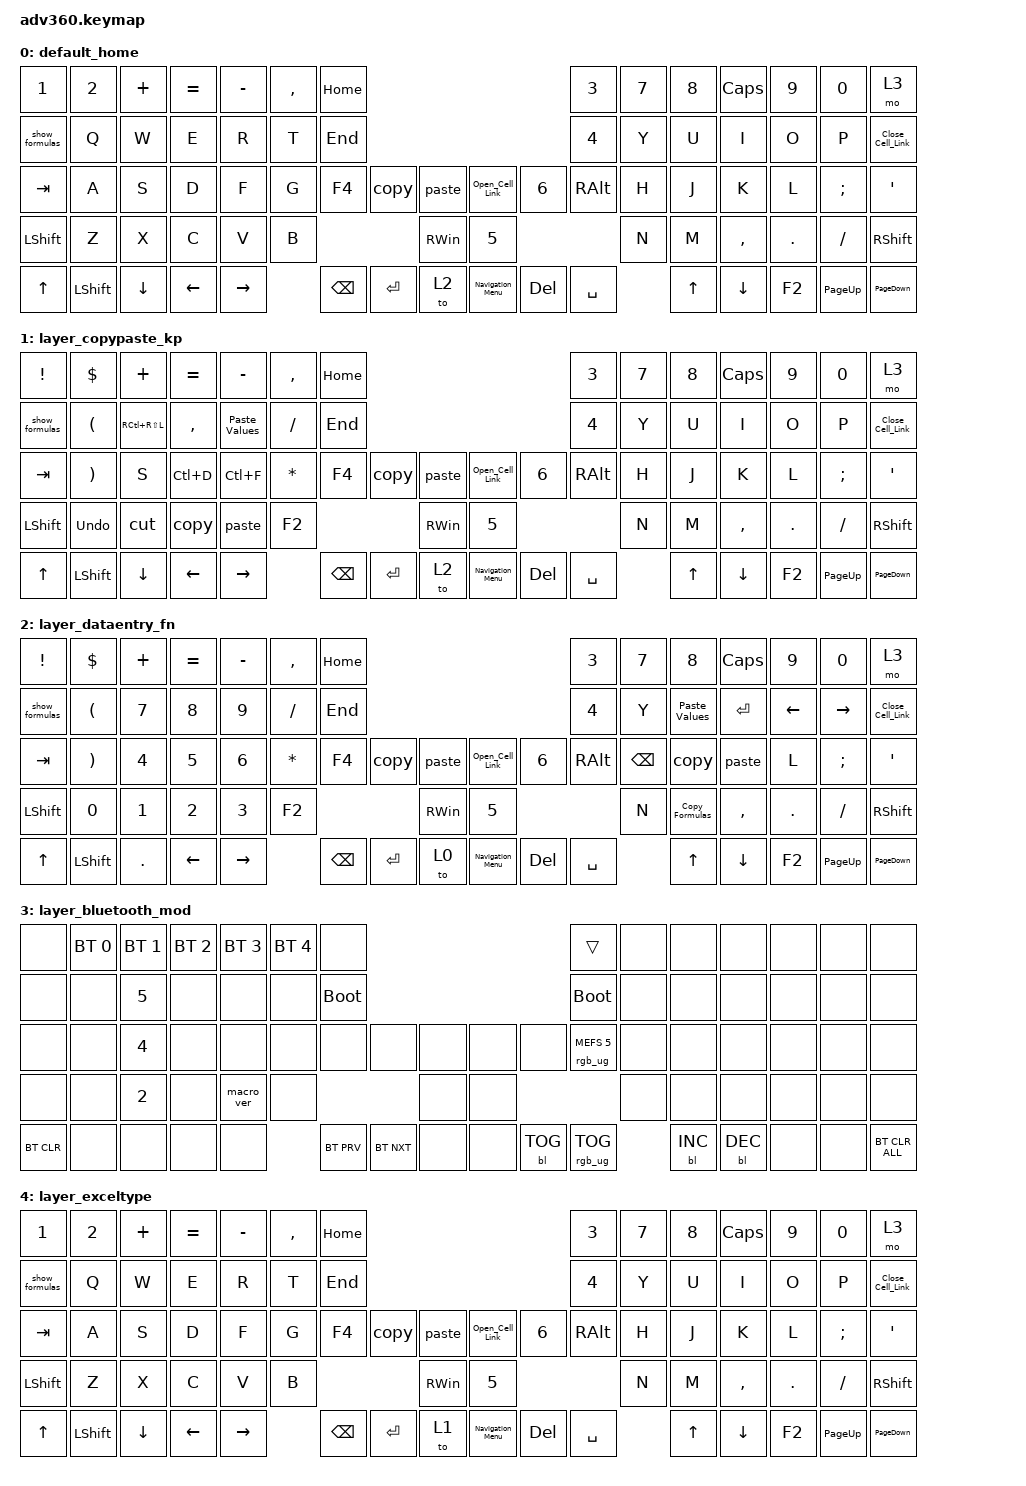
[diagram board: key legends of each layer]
/*
 * Copyright (c) 2020 The ZMK Contributors
 *
 * SPDX-License-Identifier: MIT
 */
/* THIS FILE WAS GENERATED!
 *
 * This file was generated automatically. You may or may not want to
 * edit it directly.
 */

#include <dt-bindings/zmk/mouse.h>
#include <behaviors.dtsi>
#include <dt-bindings/zmk/backlight.h>
#include <dt-bindings/zmk/bt.h>
#include <dt-bindings/zmk/keys.h>
#include <dt-bindings/zmk/pointing.h>
#include <dt-bindings/zmk/rgb.h>

/ {
    behaviors {
        #include "macros.dtsi"
    #include "version.dtsi"

        hm: homerow_mods {
            compatible = "zmk,behavior-hold-tap";
            label = "HOMEROW_MODS";
            #binding-cells = <2>;
            tapping-term-ms = <200>;
            quick_tap_ms = <175>;
            flavor = "tap-preferred";
            bindings = <&kp>, <&kp>;
        };
    };

    combos { compatible = "zmk,combos"; };

    macros {
        Open_Cell_Link: Open_Cell_Link {
            compatible = "zmk,behavior-macro";
            #binding-cells = <0>;
            bindings =
                <&none>,
                <&macro_press>,
                <&kp RCTRL>,
                <&macro_tap>,
                <&kp LEFT_BRACKET>,
                <&macro_release>,
                <&kp RIGHT_CONTROL>;

            label = "OPEN_CELL_LINK";
        };

        Horizontal_Scroll: Horizontal_Scroll {
            compatible = "zmk,behavior-macro";
            #binding-cells = <0>;
            bindings =
                <&none>,
                <&macro_press>,
                <&kp LEFT_CONTROL &kp LEFT_SHIFT>,
                <&macro_pause_for_release>,
                <&macro_release>,
                <&kp LEFT_CONTROL &kp LEFT_SHIFT>;

            label = "HORIZONTAL_SCROLL";
        };

        Close_Cell_Link: new_macro {
            compatible = "zmk,behavior-macro";
            #binding-cells = <0>;
            bindings =
                <&none>,
                <&macro_press>,
                <&kp F5>,
                <&macro_tap>,
                <&kp ENTER>,
                <&macro_release>,
                <&kp F5>;

            label = "NEW_MACRO";
        };

        copy: copy {
            compatible = "zmk,behavior-macro";
            #binding-cells = <0>;
            bindings =
                <&none>,
                <&macro_press>,
                <&kp LCTRL>,
                <&macro_tap>,
                <&kp C>,
                <&macro_release>,
                <&kp LEFT_CONTROL>;

            label = "COPY";
        };

        paste: paste {
            compatible = "zmk,behavior-macro";
            #binding-cells = <0>;
            bindings =
                <&none>,
                <&macro_press>,
                <&kp LEFT_CONTROL>,
                <&macro_tap>,
                <&kp V>,
                <&macro_release>,
                <&kp LEFT_CONTROL>;

            label = "PASTE";
        };

        cut: cut {
            compatible = "zmk,behavior-macro";
            #binding-cells = <0>;
            bindings =
                <&none>,
                <&macro_press>,
                <&kp LEFT_CONTROL>,
                <&macro_tap>,
                <&kp X>,
                <&macro_release>,
                <&kp LEFT_CONTROL>;

            label = "CUT";
        };

        PageUp: PageUp {
            compatible = "zmk,behavior-macro";
            #binding-cells = <0>;
            bindings =
                <&none>,
                <&macro_press>,
                <&kp RIGHT_CONTROL>,
                <&macro_tap>,
                <&kp PAGE_UP>,
                <&macro_release>,
                <&kp RIGHT_CONTROL>;

            label = "PAGEUP";
        };

        PageDown: PageDown {
            compatible = "zmk,behavior-macro";
            #binding-cells = <0>;
            bindings =
                <&none>,
                <&macro_press>,
                <&kp RIGHT_CONTROL>,
                <&macro_tap>,
                <&kp PAGE_DOWN>,
                <&macro_release>,
                <&kp RIGHT_CONTROL>;

            label = "PAGEDOWN";
        };

        Undo: Undo {
            compatible = "zmk,behavior-macro";
            #binding-cells = <0>;
            bindings =
                <&none>,
                <&macro_press>,
                <&kp LEFT_CONTROL>,
                <&macro_tap>,
                <&kp Z>,
                <&macro_release>,
                <&kp LEFT_CONTROL>;

            label = "UNDO";
        };

        Find: Find {
            compatible = "zmk,behavior-macro";
            #binding-cells = <0>;
            bindings =
                <&none>,
                <&macro_press>,
                <&kp LEFT_CONTROL>,
                <&macro_tap>,
                <&kp F>,
                <&macro_release>,
                <&kp LEFT_CONTROL>;

            label = "FIND";
        };

        DropDown: DropDown {
            compatible = "zmk,behavior-macro";
            #binding-cells = <0>;
            bindings =
                <&none>,
                <&macro_press>,
                <&kp LEFT_CONTROL>,
                <&macro_tap>,
                <&kp D>,
                <&macro_release>,
                <&kp LEFT_CONTROL>;

            label = "DROPDOWN";
        };

        Paste_Values: Paste_Values {
            compatible = "zmk,behavior-macro";
            #binding-cells = <0>;
            bindings =
                <&none>,
                <&macro_press>,
                <&kp LEFT_CONTROL>,
                <&macro_press>,
                <&kp LEFT_ALT>,
                <&macro_tap>,
                <&kp V>,
                <&macro_release>,
                <&kp LEFT_ALT>,
                <&macro_release>,
                <&kp LEFT_CONTROL>,
                <&macro_tap>,
                <&kp V>,
                <&macro_tap>,
                <&kp ENTER>;

            label = "PASTE_VALUES";
        };

        Navigation_Menu: Navigation_Menu {
            compatible = "zmk,behavior-macro";
            #binding-cells = <0>;
            bindings =
                <&none>,
                <&macro_press>,
                <&kp LEFT_ALT>,
                <&macro_tap>,
                <&kp TAB>,
                <&macro_pause_for_release>,
                <&kp LEFT_ALT>,
                <&macro_release>,
                <&kp LEFT_ALT>;

            label = "NAVIGATION_MENU";
        };

        New_Typing_Line: New_Typing_Line {
            compatible = "zmk,behavior-macro";
            #binding-cells = <0>;
            bindings =
                <&none>,
                <&macro_press>,
                <&kp RIGHT_ALT>,
                <&macro_tap>,
                <&kp ENTER>,
                <&macro_release>,
                <&kp RIGHT_ALT>;

            label = "NEW_TYPING_LINE";
        };

        Left_Arrow_Macro: Left_Arrow_Macro {
            compatible = "zmk,behavior-macro";
            #binding-cells = <0>;
            bindings =
                <&none>,
                <&macro_press>,
                <&kp LEFT_ARROW>,
                <&macro_release>,
                <&kp LEFT_ARROW>;

            label = "LEFT_ARROW_MACRO";
        };

        Macro_36: Macro_36 {
            compatible = "zmk,behavior-macro";
            #binding-cells = <0>;
            bindings =
                <&none>,
                <&macro_tap>,
                <&kp NUMBER_3 &kp NUMBER_6>,
                <&macro_release>;

            label = "MACRO_36";
        };

        show_formulas: show_formulas {
            compatible = "zmk,behavior-macro";
            #binding-cells = <0>;
            bindings =
                <&none>,
                <&macro_press>,
                <&kp LEFT_CONTROL>,
                <&macro_tap>,
                <&kp GRAVE>,
                <&macro_release>,
                <&kp LEFT_CONTROL>;

            label = "SHOW_FORMULAS";
        };

        minimize_window: minimize_window {
            compatible = "zmk,behavior-macro";
            #binding-cells = <0>;
            bindings =
                <&none>,
                <&macro_press>,
                <&kp RIGHT_WIN>,
                <&macro_tap>,
                <&kp DOWN_ARROW>,
                <&macro_release>,
                <&kp RIGHT_WIN>;

            label = "MINIMIZE_WINDOW";
        };

        Excel_CtrlShft_Left: triple_left_click {
            compatible = "zmk,behavior-macro";
            #binding-cells = <0>;
            bindings =
                <&macro_tap>,
                <&kp F2>,
                <&macro_press>,
                <&kp LEFT_CONTROL>,
                <&macro_press>,
                <&kp LEFT_SHIFT>,
                <&macro_tap>,
                <&kp LEFT_ARROW &kp LEFT_ARROW &kp LEFT_ARROW &kp LEFT_ARROW &kp LEFT_ARROW &kp LEFT_ARROW &kp LEFT_ARROW &kp LEFT_ARROW &kp LEFT_ARROW &kp LEFT_ARROW &kp LEFT_ARROW &kp LEFT_ARROW &kp LEFT_ARROW &kp LEFT_ARROW &kp LEFT_ARROW &kp LEFT_ARROW &kp LEFT_ARROW &kp LEFT_ARROW &kp LEFT_ARROW &kp LEFT_ARROW &kp LEFT_ARROW &kp LEFT_ARROW &kp LEFT_ARROW &kp LEFT_ARROW &kp LEFT_ARROW &kp LEFT_ARROW &kp LEFT_ARROW &kp LEFT_ARROW &kp LEFT_ARROW &kp LEFT_ARROW>,
                <&macro_release>,
                <&kp LEFT_SHIFT>,
                <&macro_tap>,
                <&kp C>,
                <&macro_release>,
                <&kp LEFT_CONTROL>,
                <&macro_tap>,
                <&kp ENTER>;

            label = "TRIPLE_LEFT_CLICK";
        };

        Copy_Formulas: Copy_Formulas {
            compatible = "zmk,behavior-macro";
            #binding-cells = <0>;
            bindings =
                <&none>,
                <&macro_tap>,
                <&mkp LCLK &mkp LCLK &mkp LCLK &mkp LCLK &mkp LCLK>,
                <&macro_press>,
                <&kp LEFT_CONTROL>,
                <&macro_tap>,
                <&kp C>,
                <&macro_release>,
                <&kp LEFT_CONTROL>,
                <&macro_tap>,
                <&kp ENTER>;

            label = "COPY_FORMULAS";
        };

        sum_macro: sum_macro {
            compatible = "zmk,behavior-macro";
            #binding-cells = <0>;
            bindings = <&none &kp EQUAL &kp LS(S) &kp LS(U) &kp LS(M) &kp LPAR>;
            label = "SUM_MACRO";
        };
    };

    keymap {
        compatible = "zmk,keymap";

        default_home {
            bindings = <
&kp NUMBER_1    &kp NUMBER_2    &kp PLUS        &kp EQUAL       &kp MINUS        &kp COMMA  &kp HOME                                                                     &kp NUMBER_3   &kp N7  &kp N8        &kp CAPSLOCK    &kp N9   &kp N0    &mo 3
&show_formulas  &kp Q           &kp W           &kp E           &kp R            &kp T      &kp END                                                                      &kp NUMBER_4   &kp Y   &kp U         &kp I           &kp O    &kp P     &Close_Cell_Link
&kp TAB         &kp A           &kp S           &kp D           &kp F            &kp G      &kp F4         &copy      &paste             &Open_Cell_Link   &kp NUMBER_6  &kp RIGHT_ALT  &kp H   &kp J         &kp K           &kp L    &kp SEMI  &kp SQT
&kp LSHFT       &kp Z           &kp X           &kp C           &kp V            &kp B                                &kp RIGHT_WIN      &kp NUMBER_5                                   &kp N   &kp M         &kp COMMA       &kp DOT  &kp FSLH  &kp RSHFT
&kp UP_ARROW    &kp LEFT_SHIFT  &kp DOWN_ARROW  &kp LEFT_ARROW  &kp RIGHT_ARROW             &kp BACKSPACE  &kp ENTER  &to 2              &Navigation_Menu  &kp DEL       &kp SPACE              &kp UP_ARROW  &kp DOWN_ARROW  &kp F2   &PageUp   &PageDown
            >;
        };

        layer_copypaste_kp {
            bindings = <
&kp EXCLAMATION  &kp DOLLAR             &kp PLUS        &kp EQUAL       &kp MINUS        &kp COMMA  &kp HOME                                                                     &kp NUMBER_3   &kp N7  &kp N8  &kp CLCK   &kp N9      &kp N0     &mo 3
&show_formulas   &kp LEFT_PARENTHESIS   &kp RC(RS(L))   &kp COMMA       &Paste_Values    &kp SLASH  &kp END                                                                      &kp NUMBER_4   &kp Y   &kp U   &kp I      &kp O       &kp P      &Close_Cell_Link
&kp TAB          &kp RIGHT_PARENTHESIS  &kp S           &kp LC(D)       &kp LC(F)        &kp STAR   &kp F4         &copy      &paste             &Open_Cell_Link   &kp NUMBER_6  &kp RIGHT_ALT  &kp H   &kp J   &kp K      &kp L       &kp SEMI   &kp SQT
&kp LSHFT        &Undo                  &cut            &copy           &paste           &kp F2                               &kp RIGHT_WIN      &kp NUMBER_5                                   &kp N   &kp M   &kp COMMA  &kp PERIOD  &kp SLASH  &kp RSHFT
&kp UP_ARROW     &kp LEFT_SHIFT         &kp DOWN_ARROW  &kp LEFT_ARROW  &kp RIGHT_ARROW             &kp BACKSPACE  &kp ENTER  &to 2              &Navigation_Menu  &kp DELETE    &kp SPACE              &kp UP  &kp DOWN   &kp F2      &PageUp    &PageDown
            >;
        };

        layer_dataentry_fn {
            bindings = <
&kp EXCLAMATION  &kp DOLLAR             &kp PLUS      &kp EQUAL       &kp MINUS        &kp COMMA     &kp HOME                                                                     &kp NUMBER_3   &kp N7         &kp N8          &kp CLCK        &kp N9          &kp N0           &mo 3
&show_formulas   &kp LEFT_PARENTHESIS   &kp N7        &kp N8          &kp NUMBER_9     &kp SLASH     &kp END                                                                      &kp NUMBER_4   &kp Y          &Paste_Values   &kp ENTER       &kp LEFT_ARROW  &kp RIGHT_ARROW  &Close_Cell_Link
&kp TAB          &kp RIGHT_PARENTHESIS  &kp NUMBER_4  &kp N5          &kp NUMBER_6     &kp ASTERISK  &kp F4         &copy      &paste             &Open_Cell_Link   &kp NUMBER_6  &kp RIGHT_ALT  &kp BACKSPACE  &copy           &paste          &kp L           &kp SEMICOLON    &kp SINGLE_QUOTE
&kp LEFT_SHIFT   &kp NUMBER_0           &kp NUMBER_1  &kp NUMBER_2    &kp NUMBER_3     &kp F2                                  &kp RIGHT_WIN      &kp N5                                         &kp N          &Copy_Formulas  &kp COMMA       &kp PERIOD      &kp SLASH        &kp RIGHT_SHIFT
&kp UP_ARROW     &kp LEFT_SHIFT         &kp PERIOD    &kp LEFT_ARROW  &kp RIGHT_ARROW                &kp BACKSPACE  &kp ENTER  &to 0              &Navigation_Menu  &kp DELETE    &kp SPACE                     &kp UP_ARROW    &kp DOWN_ARROW  &kp F2          &PageUp          &PageDown
            >;
        };

        layer_bluetooth_mod {
            bindings = <
&none       &bt BT_SEL 0  &bt BT_SEL 1  &bt BT_SEL 2  &bt BT_SEL 3  &bt BT_SEL 4  &none                                                  &trans                  &none  &none       &none       &none  &none  &none
&none       &none         &kp NUMBER_5  &none         &none         &none         &bootloader                                            &bootloader             &none  &none       &none       &none  &none  &none
&none       &none         &kp NUMBER_4  &none         &none         &none         &none        &none       &none      &none  &none       &rgb_ug RGB_MEFS_CMD 5  &none  &none       &none       &none  &none  &none
&none       &none         &kp NUMBER_2  &none         &macro_ver    &none                                  &none      &none                                      &none  &none       &none       &none  &none  &none
&bt BT_CLR  &none         &none         &none         &none                       &bt BT_PRV   &bt BT_NXT  &none      &none  &bl BL_TOG  &rgb_ug RGB_TOG                &bl BL_INC  &bl BL_DEC  &none  &none  &bt BT_CLR_ALL
            >;
        };

        layer_exceltype {
            bindings = <
&kp NUMBER_1    &kp NUMBER_2    &kp PLUS        &kp EQUAL       &kp MINUS        &kp COMMA  &kp HOME                                                                     &kp NUMBER_3   &kp N7  &kp N8        &kp CAPSLOCK    &kp N9   &kp N0    &mo 3
&show_formulas  &kp Q           &kp W           &kp E           &kp R            &kp T      &kp END                                                                      &kp NUMBER_4   &kp Y   &kp U         &kp I           &kp O    &kp P     &Close_Cell_Link
&kp TAB         &kp A           &kp S           &kp D           &kp F            &kp G      &kp F4         &copy      &paste             &Open_Cell_Link   &kp NUMBER_6  &kp RIGHT_ALT  &kp H   &kp J         &kp K           &kp L    &kp SEMI  &kp SQT
&kp LSHFT       &kp Z           &kp X           &kp C           &kp V            &kp B                                &kp RIGHT_WIN      &kp NUMBER_5                                   &kp N   &kp M         &kp COMMA       &kp DOT  &kp FSLH  &kp RSHFT
&kp UP_ARROW    &kp LEFT_SHIFT  &kp DOWN_ARROW  &kp LEFT_ARROW  &kp RIGHT_ARROW             &kp BACKSPACE  &kp ENTER  &to 1              &Navigation_Menu  &kp DEL       &kp SPACE              &kp UP_ARROW  &kp DOWN_ARROW  &kp F2   &PageUp   &PageDown
            >;
        };
    };
};
